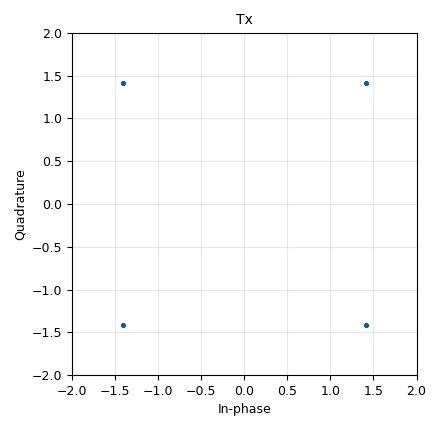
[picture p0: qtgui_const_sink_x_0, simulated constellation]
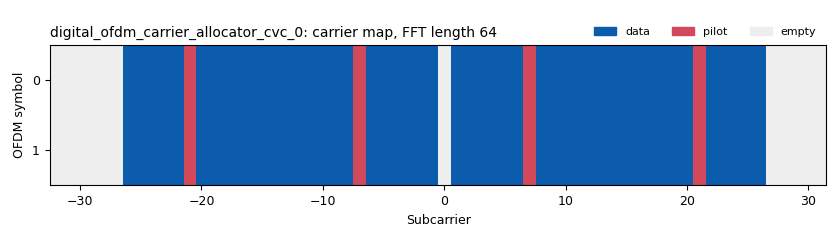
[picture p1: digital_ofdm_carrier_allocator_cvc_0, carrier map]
options:
  parameters:
    author: cymde
    generate_options: qt_gui
    id: whole
    output_language: python
    title: Not titled yet
  states: {}

blocks:
- name: fft_len
  id: variable
  parameters:
    value: '64'
  states: {}
- name: header_equalizer
  id: variable
  parameters:
    value: digital.ofdm_equalizer_simpledfe(fft_len, header_mod.base(), occupied_carriers, pilot_carriers, pilot_symbols)
  states: {}
- name: header_formatter
  id: variable
  parameters:
    value: digital.packet_header_ofdm(occupied_carriers, n_syms=1, len_tag_key=packet_length_tag_key, frame_len_tag_key=length_tag_key, bits_per_header_sym=header_mod.bits_per_symbol(), bits_per_payload_sym=payload_mod.bits_per_symbol(), scramble_header=False)
  states: {}
- name: header_mod
  id: variable
  parameters:
    value: digital.constellation_bpsk()
  states: {}
- name: length_tag_key
  id: variable
  parameters:
    value: '"frame_len"'
  states: {}
- name: occupied_carriers
  id: variable
  parameters:
    value: (list(range(-26, -21)) + list(range(-20, -7)) + list(range(-6, 0)) + list(range(1, 7)) + list(range(8, 21)) + list(range(22, 27)),)
  states: {}
- name: packet_len
  id: variable
  parameters:
    value: '50'
  states: {}
- name: packet_length_tag_key
  id: variable
  parameters:
    value: '"packet_len"'
  states: {}
- name: payload_equalizer
  id: variable
  parameters:
    value: digital.ofdm_equalizer_simpledfe(fft_len, payload_mod.base(), occupied_carriers, pilot_carriers, pilot_symbols, 1)
  states: {}
- name: payload_mod
  id: variable
  parameters:
    value: digital.constellation_qpsk()
  states: {}
- name: pilot_carriers
  id: variable
  parameters:
    value: ((-21, -7, 7, 21,),)
  states: {}
- name: pilot_symbols
  id: variable
  parameters:
    value: ((1, 1, 1, -1,),)
  states: {}
- name: rolloff
  id: variable
  parameters:
    value: '0'
  states: {}
- name: samp_rate
  id: variable
  parameters:
    value: '4000000'
  states: {}
- name: sync_word1
  id: variable
  parameters:
    value: '[0., 0., 0., 0., 0., 0., 0., 1.41421356, 0., -1.41421356, 0., 1.41421356, 0., -1.41421356, 0., -1.41421356, 0., -1.41421356, 0., 1.41421356, 0., -1.41421356, 0., 1.41421356, 0., -1.41421356, 0., -1.41421356, 0., -1.41421356, 0., -1.41421356, 0., 1.41421356, 0., -1.41421356, 0., 1.41421356, 0., 1.41421356, 0., 1.41421356, 0., -1.41421356, 0., 1.41421356, 0., 1.41421356, 0., 1.41421356, 0., -1.41421356, 0., 1.41421356, 0., 1.41421356, 0., 1.41421356, 0., 0., 0., 0., 0., 0.]'
  states: {}
- name: sync_word2
  id: variable
  parameters:
    value: '[0j, 0j, 0j, 0j, 0j, 0j, (-1+0j), (-1+0j), (-1+0j), (-1+0j), (1+0j), (1+0j), (-1+0j), (-1+0j), (-1+0j), (1+0j), (-1+0j), (1+0j), (1+0j), (1 +0j), (1+0j), (1+0j), (-1+0j), (-1+0j), (-1+0j), (-1+0j), (-1+0j), (1+0j), (-1+0j), (-1+0j), (1+0j), (-1+0j), 0j, (1+0j), (-1+0j), (1+0j), (1+0j), (1+0j), (-1+0j), (1+0j), (1+0j), (1+0j), (-1+0j), (1+0j), (1+0j), (1+0j), (1+0j), (-1+0j), (1+0j), (-1+0j), (-1+0j), (-1+0j), (1+0j), (-1+0j), (1+0j), (-1+0j), (-1+0j), (-1+0j), (-1+0j), 0j, 0j, 0j, 0j, 0j]'
  states: {}
- name: analog_frequency_modulator_fc_0
  id: analog_frequency_modulator_fc
  parameters:
    sensitivity: '-2/fft_len'
  states: {}
- name: blocks_delay_0
  id: blocks_delay
  parameters:
    delay: fft_len//2
    type: complex
  states: {}
- name: blocks_file_sink_0
  id: blocks_file_sink
  parameters:
    file: C:\Users\cymde\OneDrive - The University of Sydney (Students)\123\Wk14\fft.dat
    type: complex
    vlen: '64'
  states: {}
- name: blocks_file_sink_0_0
  id: blocks_file_sink
  parameters:
    file: C:\Users\cymde\OneDrive - The University of Sydney (Students)\123\Wk14\eq.dat
    type: complex
    vlen: '64'
  states: {}
- name: blocks_file_sink_0_0_0
  id: blocks_file_sink
  parameters:
    file: C:\Users\cymde\OneDrive - The University of Sydney (Students)\123\Wk14\rxbeforeCRC.dat
    type: byte
  states: {}
- name: blocks_file_sink_0_0_0_0
  id: blocks_file_sink
  parameters:
    file: C:\Users\cymde\OneDrive - The University of Sydney (Students)\123\Wk14\txafterCRC.dat
    type: byte
  states: {}
- name: blocks_file_sink_0_1
  id: blocks_file_sink
  parameters:
    file: C:\Users\cymde\OneDrive - The University of Sydney (Students)\123\Wk14\channel.dat
    type: complex
    vlen: '64'
  states: {}
- name: blocks_file_sink_0_1_0
  id: blocks_file_sink
  parameters:
    file: C:\Users\cymde\OneDrive - The University of Sydney (Students)\123\Wk14\seri.dat
    type: complex
  states: {}
- name: blocks_file_sink_0_1_0_0
  id: blocks_file_sink
  parameters:
    file: C:\Users\cymde\OneDrive - The University of Sydney (Students)\123\Wk14\ori.dat
    type: complex
  states: {}
- name: blocks_file_sink_0_2
  id: blocks_file_sink
  parameters:
    file: C:\Users\cymde\OneDrive - The University of Sydney (Students)\123\Wk13\beforefft.dat
    type: complex
    vlen: '64'
  states: {}
- name: blocks_file_sink_0_3
  id: blocks_file_sink
  parameters:
    file: C:\Users\cymde\OneDrive - The University of Sydney (Students)\123\Wk13\fft2.dat
    type: complex
    vlen: '64'
  states: {}
- name: blocks_file_sink_0_3_0
  id: blocks_file_sink
  parameters:
    file: C:\Users\cymde\OneDrive - The University of Sydney (Students)\123\Wk13\test.dat
    type: complex
    vlen: '64'
  states: {state: disabled}
- name: blocks_file_sink_0_3_0_0
  id: blocks_file_sink
  parameters:
    file: C:\Users\cymde\OneDrive - The University of Sydney (Students)\123\Wk13\hetest.dat
    type: complex
    vlen: '64'
  states: {state: disabled}
- name: blocks_file_sink_1
  id: blocks_file_sink
  parameters:
    file: C:\Users\cymde\OneDrive - The University of Sydney (Students)\123\Wk13\detect.dat
    type: byte
  states: {}
- name: blocks_file_sink_2
  id: blocks_file_sink
  parameters:
    file: C:\Users\cymde\OneDrive - The University of Sydney (Students)\123\Wk13\freq.dat
    type: complex
  states: {state: disabled}
- name: blocks_file_sink_2_0
  id: blocks_file_sink
  parameters:
    file: C:\Users\cymde\OneDrive - The University of Sydney (Students)\123\Wk13\delay.dat
    type: complex
  states: {}
- name: blocks_file_sink_2_0_0
  id: blocks_file_sink
  parameters:
    file: C:\Users\cymde\OneDrive - The University of Sydney (Students)\123\Wk13\header.dat
    type: complex
    vlen: '64'
  states: {}
- name: blocks_file_sink_2_0_0_0
  id: blocks_file_sink
  parameters:
    file: C:\Users\cymde\OneDrive - The University of Sydney (Students)\123\Wk13\payloadd.dat
    type: complex
    vlen: '64'
  states: {}
- name: blocks_file_sink_2_0_1
  id: blocks_file_sink
  parameters:
    file: C:\Users\cymde\OneDrive - The University of Sydney (Students)\123\Wk13\datafft.dat
    type: complex
    vlen: '64'
  states: {}
- name: blocks_file_sink_2_0_1_0
  id: blocks_file_sink
  parameters:
    file: C:\Users\cymde\OneDrive - The University of Sydney (Students)\123\Wk13\cp.dat
    type: complex
  states: {}
- name: blocks_message_debug_0
  id: blocks_message_debug
  parameters: {}
  states: {state: disabled}
- name: blocks_multiply_const_vxx_0
  id: blocks_multiply_const_vxx
  parameters:
    const: '1'
    type: complex
  states: {}
- name: blocks_multiply_xx_0
  id: blocks_multiply_xx
  parameters:
    type: complex
  states: {}
- name: blocks_repack_bits_bb_0
  id: blocks_repack_bits_bb
  parameters:
    align_output: 'True'
    endianness: gr.GR_LSB_FIRST
    k: payload_mod.bits_per_symbol()
    l: '8'
    len_tag_key: packet_length_tag_key
  states: {}
- name: blocks_repack_bits_bb_0_0
  id: blocks_repack_bits_bb
  parameters:
    endianness: gr.GR_LSB_FIRST
    k: '8'
    l: payload_mod.bits_per_symbol()
    len_tag_key: length_tag_key
  states: {}
- name: blocks_stream_to_tagged_stream_0_0
  id: blocks_stream_to_tagged_stream
  parameters:
    len_tag_key: length_tag_key
    packet_len: packet_len
    type: byte
  states: {}
- name: blocks_tag_debug_1
  id: blocks_tag_debug
  parameters:
    display: 'False'
    name: Rx Bytes
    type: byte
  states: {}
- name: blocks_tag_gate_0
  id: blocks_tag_gate
  parameters:
    propagate_tags: 'False'
    type: complex
  states: {}
- name: blocks_tagged_stream_mux_0
  id: blocks_tagged_stream_mux
  parameters:
    lengthtagname: length_tag_key
    ninputs: '2'
    type: complex
  states: {}
- name: blocks_throttle_0
  id: blocks_throttle
  parameters:
    samples_per_second: samp_rate
    type: complex
  states: {}
- name: blocks_throttle_0_0
  id: blocks_throttle
  parameters:
    samples_per_second: samp_rate
    type: complex
  states: {}
- name: blocks_uchar_to_float_0_0
  id: blocks_uchar_to_float
  parameters: {}
  states: {}
- name: blocks_vector_source_x_0
  id: blocks_vector_source_x
  parameters:
    repeat: 'True'
    tags: ()
    type: byte
    vector: range(packet_len)
  states: {}
- name: channels_channel_model_0
  id: channels_channel_model
  parameters:
    block_tags: 'True'
    epsilon: '1.0'
    freq_offset: 0* 1.0/fft_len
    noise_voltage: '1.12'
    seed: '0'
    taps: '1.0'
  states: {}
- name: channels_fading_model_0
  id: channels_fading_model
  parameters:
    LOS: 'False'
    N: '50'
    fDTs: 1000.0/samp_rate
    seed: '0'
  states: {}
- name: digital_chunks_to_symbols_xx_0
  id: digital_chunks_to_symbols_xx
  parameters:
    dimension: '1'
    in_type: byte
    out_type: complex
    symbol_table: header_mod.points()
  states: {}
- name: digital_chunks_to_symbols_xx_0_0
  id: digital_chunks_to_symbols_xx
  parameters:
    dimension: '1'
    in_type: byte
    out_type: complex
    symbol_table: payload_mod.points()
  states: {}
- name: digital_constellation_decoder_cb_0
  id: digital_constellation_decoder_cb
  parameters:
    constellation: header_mod.base()
  states: {}
- name: digital_constellation_decoder_cb_1
  id: digital_constellation_decoder_cb
  parameters:
    constellation: payload_mod.base()
  states: {}
- name: digital_crc32_bb_0
  id: digital_crc32_bb
  parameters:
    check: 'True'
    lengthtagname: packet_length_tag_key
    packed: 'True'
  states: {}
- name: digital_crc32_bb_0_0
  id: digital_crc32_bb
  parameters:
    check: 'False'
    lengthtagname: length_tag_key
    packed: 'True'
  states: {}
- name: digital_header_payload_demux_0
  id: digital_header_payload_demux
  parameters:
    guard_interval: fft_len//4
    header_len: '3'
    header_padding: '0'
    items_per_symbol: fft_len
    length_tag_key: length_tag_key
    output_symbols: 'True'
    samp_rate: samp_rate
    special_tags: ()
    timing_tag_key: '"rx_time"'
    type: complex
  states: {}
- name: digital_ofdm_carrier_allocator_cvc_0
  id: digital_ofdm_carrier_allocator_cvc
  parameters:
    fft_len: fft_len
    len_tag_key: length_tag_key
    occupied_carriers: occupied_carriers
    output_is_shifted: 'True'
    pilot_carriers: pilot_carriers
    pilot_symbols: pilot_symbols
    sync_words: (sync_word1, sync_word2)
  states: {}
- name: digital_ofdm_chanest_vcvc_0
  id: digital_ofdm_chanest_vcvc
  parameters:
    force_one_symbol: 'False'
    max_carr_offset: '3'
    n_data_symbols: '1'
    sync_symbol1: sync_word1
    sync_symbol2: sync_word2
  states: {}
- name: digital_ofdm_cyclic_prefixer_0
  id: digital_ofdm_cyclic_prefixer
  parameters:
    cp_len: fft_len//4
    input_size: fft_len
    rolloff: rolloff
    tagname: length_tag_key
  states: {}
- name: digital_ofdm_frame_equalizer_vcvc_0
  id: digital_ofdm_frame_equalizer_vcvc
  parameters:
    cp_len: fft_len//4
    equalizer: header_equalizer.base()
    fft_len: fft_len
    fixed_frame_len: '1'
    len_tag_key: length_tag_key
    propagate_channel_state: 'True'
  states: {}
- name: digital_ofdm_frame_equalizer_vcvc_1
  id: digital_ofdm_frame_equalizer_vcvc
  parameters:
    cp_len: fft_len//4
    equalizer: payload_equalizer.base()
    fft_len: fft_len
    len_tag_key: length_tag_key
    propagate_channel_state: 'True'
  states: {}
- name: digital_ofdm_serializer_vcc_header
  id: digital_ofdm_serializer_vcc
  parameters:
    carr_offset_key: ''
    fft_len: fft_len
    len_tag_key: length_tag_key
    occupied_carriers: occupied_carriers
    packet_len_tag_key: ''
  states: {}
- name: digital_ofdm_serializer_vcc_payload
  id: digital_ofdm_serializer_vcc
  parameters:
    carr_offset_key: ''
    fft_len: fft_len
    len_tag_key: length_tag_key
    occupied_carriers: occupied_carriers
    packet_len_tag_key: packet_length_tag_key
    symbols_skipped: '1'
  states: {}
- name: digital_ofdm_sync_sc_cfb_0
  id: digital_ofdm_sync_sc_cfb
  parameters:
    cp_len: fft_len//4
    fft_len: fft_len
    threshold: '0.9'
  states: {}
- name: digital_packet_headergenerator_bb_0
  id: digital_packet_headergenerator_bb
  parameters:
    header_formatter: header_formatter.base()
    len_tag_key: length_tag_key
  states: {}
- name: digital_packet_headerparser_b_0
  id: digital_packet_headerparser_b
  parameters:
    header_formatter: header_formatter.base()
  states: {}
- name: digital_probe_mpsk_snr_est_c_0
  id: digital_probe_mpsk_snr_est_c
  parameters:
    alpha: '0.00001'
    msg_nsamples: '10000'
    type: '0'
  states: {state: disabled}
- name: epy_block_0
  id: epy_block
  parameters:
    _source_code: "\"\"\"\nEmbedded Python Blocks:\n\nEach time this file is saved, GRC will instantiate the first class it finds\nto get ports and parameters of your block. The arguments to __init__  will\nbe the parameters. All of them are required to have default values!\n\"\"\"\nimport numpy as np\nfrom gnuradio import gr\n\nclass VectorSampleShifter(gr.sync_block):\n    def __init__(self, vector_length=64, shift_size=16):\n        gr.sync_block.__init__(\n            self,\n            name=\"VectorSampleShifter\",\n            in_sig=[(np.complex64, vector_length)],\n            out_sig=[(np.complex64, vector_length)]\n        )\n        self.vector_length = vector_length\n        self.shift_size = shift_size\n\n    def work(self, input_items, output_items):\n        in0 = input_items[0].reshape((-1, self.vector_length))\n        out = output_items[0].reshape((-1, self.vector_length))\n\n        # shift the vectors and correct the factor of -1\n        for i in range(in0.shape[0]):\n            out[i, :] = np.roll(in0[i, :], -self.shift_size)\n\n        return in0.size\n\n\n"
    shift_size: '48'
    vector_length: '64'
  states: {state: disabled}
- name: epy_block_0_0
  id: epy_block
  parameters:
    _source_code: |
      """
      Embedded Python Blocks:

      Each time this file is saved, GRC will instantiate the first class it finds
      to get ports and parameters of your block. The arguments to __init__  will
      be the parameters. All of them are required to have default values!
      """

      import numpy as np
      from gnuradio import gr

      class VectorSampleShifter(gr.sync_block):
          def __init__(self, sample_size=64, shift_size=16):
              gr.sync_block.__init__(
                  self,
                  name="VectorSampleShifter",
                  in_sig=[(np.complex64, sample_size)],
                  out_sig=[(np.complex64, sample_size)]
              )
              self.sample_size = sample_size
              self.shift_size = shift_size

          def work(self, input_items, output_items):
              in0 = input_items[0]
              out = output_items[0]
              for i in range(len(in0)):
                  out[i] = -np.roll(in0[i], -self.shift_size)  # Flip the sign and shift
              return len(output_items[0])
    sample_size: '64'
    shift_size: '48'
  states: {state: disabled}
- name: epy_block_1
  id: epy_block
  parameters:
    _source_code: |
      import numpy as np
      from gnuradio import gr

      class vec_circular_shift(gr.sync_block):
          def __init__(self, vector_len=64, shift_len=48):
              gr.sync_block.__init__(self,
                  name="vec_circular_shift",
                  in_sig=[(np.complex64, vector_len)],
                  out_sig=[(np.complex64, vector_len)])

              self.vector_len = vector_len
              self.shift_len = shift_len

          def work(self, input_items, output_items):
              in0 = input_items[0]
              out = output_items[0]

              for i in range(len(out)):
                  # Perform circular shift
                  out[i, :] = np.roll(in0[i, :], self.shift_len)

              return len(output_items[0])
    shift_len: '48'
    vector_len: '64'
  states: {state: disabled}
- name: epy_block_1_0
  id: epy_block
  parameters:
    _source_code: |
      import numpy as np
      from gnuradio import gr

      class vec_circular_shift(gr.sync_block):
          def __init__(self, vector_len=64, shift_len=48):
              gr.sync_block.__init__(self,
                  name="vec_circular_shift",
                  in_sig=[(np.complex64, vector_len)],
                  out_sig=[(np.complex64, vector_len)])

              self.vector_len = vector_len
              self.shift_len = shift_len

          def work(self, input_items, output_items):
              in0 = input_items[0]
              out = output_items[0]

              for i in range(len(out)):
                  # Perform circular shift
                  out[i, :] = np.roll(in0[i, :], self.shift_len)

              return len(output_items[0])
    shift_len: '48'
    vector_len: '64'
  states: {state: disabled}
- name: fft_vxx_0
  id: fft_vxx
  parameters:
    fft_size: fft_len
    forward: 'True'
    shift: 'True'
    type: complex
    window: ()
  states: {}
- name: fft_vxx_0_0
  id: fft_vxx
  parameters:
    fft_size: fft_len
    forward: 'False'
    shift: 'True'
    type: complex
    window: ()
  states: {}
- name: fft_vxx_1
  id: fft_vxx
  parameters:
    fft_size: fft_len
    forward: 'True'
    shift: 'True'
    type: complex
    window: ()
  states: {}
- name: header_bits
  id: virtual_sink
  parameters:
    stream_id: Header Bits
  states: {}
- name: import_1
  id: import
  parameters:
    imports: from gnuradio.digital.utils import tagged_streams
  states: {}
- name: qtgui_const_sink_x_0
  id: qtgui_const_sink_x
  parameters:
    name: Tx
    size: '1024'
    type: complex
  states: {}
- name: qtgui_const_sink_x_0_0
  id: qtgui_const_sink_x
  parameters:
    name: Rx
    size: '1024'
    type: complex
  states: {}
- name: qtgui_time_sink_x_0
  id: qtgui_time_sink_x
  parameters:
    autoscale: 'True'
    name: Output
    size: '1024'
    srate: samp_rate
    type: float
  states: {}
- name: qtgui_time_sink_x_2
  id: qtgui_time_sink_x
  parameters:
    name: RX
    size: '1024'
    srate: samp_rate
    type: complex
  states: {state: disabled}
- name: virtual_sink_0
  id: virtual_sink
  parameters:
    stream_id: Header Stream
  states: {}
- name: virtual_sink_0_0
  id: virtual_sink
  parameters:
    stream_id: Time Domain
  states: {}
- name: virtual_sink_0_0_0
  id: virtual_sink
  parameters:
    stream_id: Pre-OFDM
  states: {}
- name: virtual_sink_0_0_1
  id: virtual_sink
  parameters:
    stream_id: Payload Bits
  states: {}
- name: virtual_sink_1
  id: virtual_sink
  parameters:
    stream_id: Payload Stream
  states: {}
- name: virtual_sink_1_0
  id: virtual_sink
  parameters:
    stream_id: Payload IQ
  states: {}
- name: virtual_sink_1_1
  id: virtual_sink
  parameters:
    stream_id: Tx Signal
  states: {}
- name: virtual_source_0
  id: virtual_source
  parameters:
    stream_id: Header Stream
  states: {}
- name: virtual_source_0_0
  id: virtual_source
  parameters:
    stream_id: Payload IQ
  states: {}
- name: virtual_source_0_0_0
  id: virtual_source
  parameters:
    stream_id: Pre-OFDM
  states: {}
- name: virtual_source_0_0_0_0
  id: virtual_source
  parameters:
    stream_id: Time Domain
  states: {}
- name: virtual_source_0_0_1
  id: virtual_source
  parameters:
    stream_id: Payload Bits
  states: {}
- name: virtual_source_0_1
  id: virtual_source
  parameters:
    stream_id: Header Bits
  states: {}
- name: virtual_source_1
  id: virtual_source
  parameters:
    stream_id: Payload Stream
  states: {}
- name: virtual_source_1_0
  id: virtual_source
  parameters:
    stream_id: Tx Signal
  states: {}

connections:
- [analog_frequency_modulator_fc_0, '0', blocks_file_sink_2, '0']
- [analog_frequency_modulator_fc_0, '0', blocks_multiply_xx_0, '0']
- [blocks_delay_0, '0', blocks_file_sink_2_0, '0']
- [blocks_delay_0, '0', blocks_multiply_xx_0, '1']
- [blocks_multiply_const_vxx_0, '0', blocks_tag_gate_0, '0']
- [blocks_multiply_xx_0, '0', digital_header_payload_demux_0, '0']
- [blocks_repack_bits_bb_0, '0', blocks_file_sink_0_0_0, '0']
- [blocks_repack_bits_bb_0, '0', digital_crc32_bb_0, '0']
- [blocks_repack_bits_bb_0_0, '0', virtual_sink_0_0_1, '0']
- [blocks_stream_to_tagged_stream_0_0, '0', digital_crc32_bb_0_0, '0']
- [blocks_tag_gate_0, '0', blocks_throttle_0_0, '0']
- [blocks_tagged_stream_mux_0, '0', virtual_sink_0_0_0, '0']
- [blocks_throttle_0, '0', blocks_delay_0, '0']
- [blocks_throttle_0, '0', digital_ofdm_sync_sc_cfb_0, '0']
- [blocks_throttle_0, '0', qtgui_time_sink_x_2, '0']
- [blocks_throttle_0_0, '0', virtual_sink_1_1, '0']
- [blocks_uchar_to_float_0_0, '0', qtgui_time_sink_x_0, '0']
- [blocks_vector_source_x_0, '0', blocks_stream_to_tagged_stream_0_0, '0']
- [channels_channel_model_0, '0', channels_fading_model_0, '0']
- [channels_channel_model_0, '0', digital_probe_mpsk_snr_est_c_0, '0']
- [channels_fading_model_0, '0', blocks_throttle_0, '0']
- [digital_chunks_to_symbols_xx_0, '0', blocks_tagged_stream_mux_0, '0']
- [digital_chunks_to_symbols_xx_0_0, '0', blocks_file_sink_0_1_0_0, '0']
- [digital_chunks_to_symbols_xx_0_0, '0', blocks_tagged_stream_mux_0, '1']
- [digital_chunks_to_symbols_xx_0_0, '0', qtgui_const_sink_x_0, '0']
- [digital_constellation_decoder_cb_0, '0', digital_packet_headerparser_b_0, '0']
- [digital_constellation_decoder_cb_1, '0', blocks_repack_bits_bb_0, '0']
- [digital_crc32_bb_0, '0', blocks_tag_debug_1, '0']
- [digital_crc32_bb_0, '0', blocks_uchar_to_float_0_0, '0']
- [digital_crc32_bb_0_0, '0', blocks_file_sink_0_0_0_0, '0']
- [digital_crc32_bb_0_0, '0', blocks_repack_bits_bb_0_0, '0']
- [digital_crc32_bb_0_0, '0', digital_packet_headergenerator_bb_0, '0']
- [digital_header_payload_demux_0, '0', blocks_file_sink_2_0_0, '0']
- [digital_header_payload_demux_0, '0', virtual_sink_0, '0']
- [digital_header_payload_demux_0, '1', blocks_file_sink_2_0_0_0, '0']
- [digital_header_payload_demux_0, '1', virtual_sink_1, '0']
- [digital_ofdm_carrier_allocator_cvc_0, '0', blocks_file_sink_0_2, '0']
- [digital_ofdm_carrier_allocator_cvc_0, '0', fft_vxx_0_0, '0']
- [digital_ofdm_chanest_vcvc_0, '0', blocks_file_sink_0_1, '0']
- [digital_ofdm_chanest_vcvc_0, '0', digital_ofdm_frame_equalizer_vcvc_0, '0']
- [digital_ofdm_cyclic_prefixer_0, '0', blocks_file_sink_2_0_1_0, '0']
- [digital_ofdm_cyclic_prefixer_0, '0', virtual_sink_0_0, '0']
- [digital_ofdm_frame_equalizer_vcvc_0, '0', digital_ofdm_serializer_vcc_header, '0']
- [digital_ofdm_frame_equalizer_vcvc_1, '0', blocks_file_sink_0_0, '0']
- [digital_ofdm_frame_equalizer_vcvc_1, '0', digital_ofdm_serializer_vcc_payload, '0']
- [digital_ofdm_serializer_vcc_header, '0', digital_constellation_decoder_cb_0, '0']
- [digital_ofdm_serializer_vcc_payload, '0', blocks_file_sink_0_1_0, '0']
- [digital_ofdm_serializer_vcc_payload, '0', qtgui_const_sink_x_0_0, '0']
- [digital_ofdm_serializer_vcc_payload, '0', virtual_sink_1_0, '0']
- [digital_ofdm_sync_sc_cfb_0, '0', analog_frequency_modulator_fc_0, '0']
- [digital_ofdm_sync_sc_cfb_0, '1', blocks_file_sink_1, '0']
- [digital_ofdm_sync_sc_cfb_0, '1', digital_header_payload_demux_0, '1']
- [digital_packet_headergenerator_bb_0, '0', header_bits, '0']
- [digital_packet_headerparser_b_0, header_data, digital_header_payload_demux_0, header_data]
- [digital_probe_mpsk_snr_est_c_0, noise, blocks_message_debug_0, print]
- [digital_probe_mpsk_snr_est_c_0, signal, blocks_message_debug_0, print]
- [digital_probe_mpsk_snr_est_c_0, snr, blocks_message_debug_0, print]
- [epy_block_1, '0', blocks_file_sink_0_3_0, '0']
- [fft_vxx_0, '0', blocks_file_sink_0_3, '0']
- [fft_vxx_0, '0', digital_ofdm_chanest_vcvc_0, '0']
- [fft_vxx_0_0, '0', blocks_file_sink_2_0_1, '0']
- [fft_vxx_0_0, '0', digital_ofdm_cyclic_prefixer_0, '0']
- [fft_vxx_1, '0', blocks_file_sink_0, '0']
- [fft_vxx_1, '0', digital_ofdm_frame_equalizer_vcvc_1, '0']
- [virtual_source_0, '0', fft_vxx_0, '0']
- [virtual_source_0_0, '0', digital_constellation_decoder_cb_1, '0']
- [virtual_source_0_0_0, '0', digital_ofdm_carrier_allocator_cvc_0, '0']
- [virtual_source_0_0_0_0, '0', blocks_multiply_const_vxx_0, '0']
- [virtual_source_0_0_1, '0', digital_chunks_to_symbols_xx_0_0, '0']
- [virtual_source_0_1, '0', digital_chunks_to_symbols_xx_0, '0']
- [virtual_source_1, '0', fft_vxx_1, '0']
- [virtual_source_1_0, '0', channels_channel_model_0, '0']

metadata:
  file_format: 1
  grc_version: 3.10.5.1
